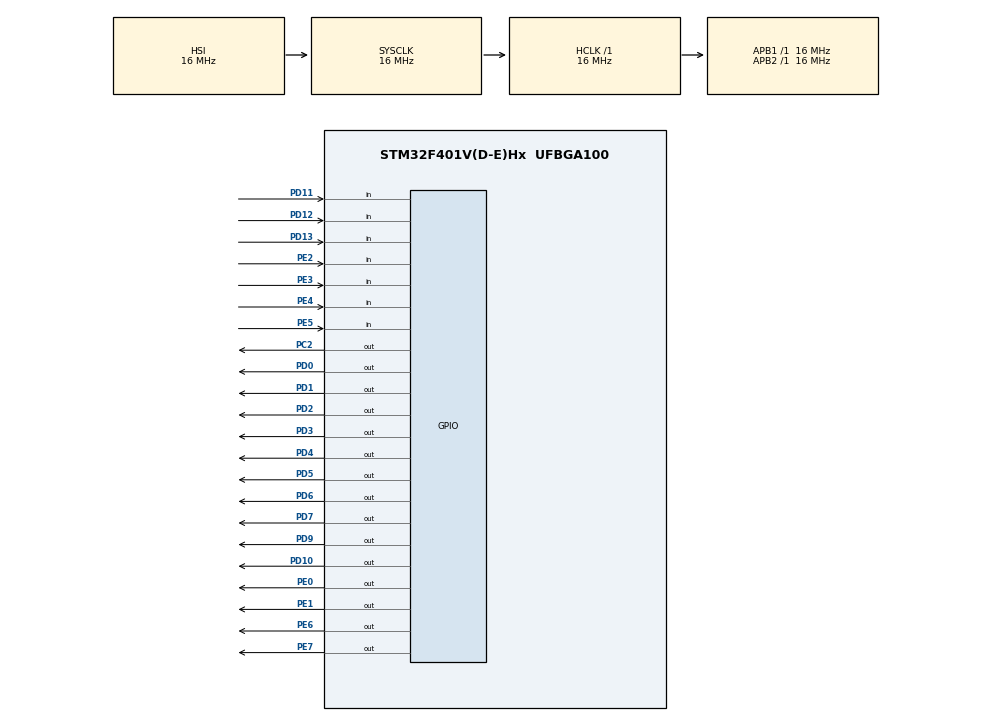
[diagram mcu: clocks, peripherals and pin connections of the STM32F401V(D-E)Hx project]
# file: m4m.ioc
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Mcu.Family=STM32F4
Mcu.Name=STM32F401V(D-E)Hx
Mcu.Package=UFBGA100
NVIC.PriorityGroup=NVIC_PRIORITYGROUP_4
NVIC.TIM1_UP_TIM10_IRQn=true\:0\:0\:false\:false\:true\:true\:true
PC2.Signal=GPIO_Output
PD0.Signal=GPIO_Output
PD1.Signal=GPIO_Output
PD10.Signal=GPIO_Output
PD11.Signal=GPIO_Input
PD12.Signal=GPIO_Input
PD13.Signal=GPIO_Input
PD2.Signal=GPIO_Output
PD3.Signal=GPIO_Output
PD4.Signal=GPIO_Output
PD5.Signal=GPIO_Output
PD6.Signal=GPIO_Output
PD7.Signal=GPIO_Output
PD9.Signal=GPIO_Output
PE0.Signal=GPIO_Output
PE1.Signal=GPIO_Output
PE2.Signal=GPIO_Input
PE3.Signal=GPIO_Input
PE4.Signal=GPIO_Input
PE5.Signal=GPIO_Input
PE6.Signal=GPIO_Output
PE7.Signal=GPIO_Output
ProjectManager.HeapSize=0x200
ProjectManager.StackSize=0x400
ProjectManager.TargetToolchain=STM32CubeIDE
RCC.AHBFreq_Value=16000000
RCC.APB1Freq_Value=16000000
RCC.APB2Freq_Value=16000000
RCC.CortexFreq_Value=16000000
RCC.HSE_VALUE=25000000
RCC.HSI_VALUE=16000000
RCC.LSE_VALUE=32768
RCC.SYSCLKFreq_VALUE=16000000
RCC.VCOOutputFreq_Value=192000000
TIM10.Period=62499
TIM10.Prescaler=63
VP_TIM10_VS_ClockSourceINT.Mode=Enable_Timer
board=custom

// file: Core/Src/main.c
/* USER CODE BEGIN Header */
/**
  ******************************************************************************
  * @file           : main.c
  * @brief          : Main program body
  ******************************************************************************
  * @attention
  *
  * <h2><center>&copy; Copyright (c) 2023 STMicroelectronics.
  * All rights reserved.</center></h2>
  *
  * This software component is licensed by ST under BSD 3-Clause license,
  * the "License"; You may not use this file except in compliance with the
  * License. You may obtain a copy of the License at:
  *                        opensource.org/licenses/BSD-3-Clause
  *
  ******************************************************************************
  */
/* USER CODE END Header */
#include "main.h"
#include "tim.h"
#include "gpio.h"

/* USER CODE BEGIN Includes */
#include <LCD.h>
#include <keypad.h>
/* USER CODE END Includes */

/* USER CODE BEGIN PM */

#define PASS_LIMIT       3
#define SET              1
#define CLEAR            0
#define CANCEL           2

/* USER CODE END PM */

/* USER CODE BEGIN PV */

uint8_t Door = CLEAR;
uint8_t Food_in = CLEAR;
uint8_t Start = CLEAR;
uint8_t Start_Flag = CLEAR;
uint8_t Stop  = CLEAR;
uint8_t Pause_Flage  = CLEAR;
uint8_t Cancel_Flage = CLEAR;
uint8_t Time_minutes = CLEAR;
uint8_t Time_seconds = 60;
uint8_t keypad_value = CLEAR;
uint8_t Time_check = CLEAR;
uint8_t Run_flag = CLEAR;
uint8_t count_char = CLEAR;
uint8_t char_temp = CLEAR;
uint8_t Enable_ISR = CLEAR;

/* USER CODE END PV */

void SystemClock_Config(void);

/* USER CODE BEGIN PFP */

void initialization ();
uint8_t Keypad_Read_Value();
void Timer_ISR();
void Button_State();
void Set_Time();
void Start_Microwave();
void Stop_Microwave();

/* USER CODE END PFP */

/* USER CODE BEGIN 0 */

lcd_4bit_t lcd;
keypad_t keypad;

/* USER CODE END 0 */

int main(void)
{

  /* MCU Configuration--------------------------------------------------------*/

  /* Reset of all peripherals, Initializes the Flash interface and the Systick. */
  HAL_Init();

  /* Configure the system clock */
  SystemClock_Config();

  /* Initialize all configured peripherals */
  MX_GPIO_Init();
  MX_TIM10_Init();
  /* USER CODE BEGIN 2 */

  HAL_TIM_Base_Start_IT(&htim10);

  initialization();

  lcd_4bit_send_string_pos(&lcd, 2, 8, "00:00");
  /* USER CODE END 2 */

  /* Infinite loop */
  while(1){
  /* USER CODE BEGIN WHILE */
	  Button_State();
	  Timer_ISR();
		  /* Check if door is closed */
		  if (Door == HIGH){
			  HAL_GPIO_WritePin(GPIOE, GPIO_PIN_1, GPIO_PIN_SET);
		  }
		  if (Door == LOW && Start_Flag == CLEAR){
			  HAL_GPIO_WritePin(GPIOE, GPIO_PIN_1, GPIO_PIN_RESET);
		  }
		  /* Check if food is in microwave and door is closed */
		 if(Food_in == HIGH && Door == LOW)
		 {
		 	 /* We want to set time only once */
		 	 Set_Time();

			   /* Check the state of the start button */
			 if(Start_Flag == SET && Pause_Flage == CLEAR)
			 {
				 /* Turn on the microwave, heater, and lamb */
				 Start_Microwave();
				 Cancel_Flage = CLEAR;
			 }
		  }

	          /* Check the state of the Stop button */
	  	 if(Pause_Flage == SET)
	  	 {
	              Start_Flag = CLEAR;
	              Pause_Flage = CLEAR;
	              Stop_Microwave(); // stope the operation
	  	 }
	         /* if the stop button is pressed twice, restart the program  */
	     if (Cancel_Flage == CANCEL){
	              Stop_Microwave();
	              lcd_4bit_send_string_pos(&lcd, 2, 8, "00:00");
	              Pause_Flage = CLEAR;
	              Start_Flag = CLEAR;
	              Time_minutes = CLEAR;
	              Time_seconds = 60;
	              Cancel_Flage = CLEAR;
	              Time_check = CLEAR;
	      }

    /* USER CODE END WHILE */

  }
}
void SystemClock_Config(void)
{
  RCC_OscInitTypeDef RCC_OscInitStruct = {0};
  RCC_ClkInitTypeDef RCC_ClkInitStruct = {0};

  /** Configure the main internal regulator output voltage
  */
  __HAL_RCC_PWR_CLK_ENABLE();
  __HAL_PWR_VOLTAGESCALING_CONFIG(PWR_REGULATOR_VOLTAGE_SCALE2);
  /** Initializes the RCC Oscillators according to the specified parameters
  * in the RCC_OscInitTypeDef structure.
  */
  RCC_OscInitStruct.OscillatorType = RCC_OSCILLATORTYPE_HSI;
  RCC_OscInitStruct.HSIState = RCC_HSI_ON;
  RCC_OscInitStruct.HSICalibrationValue = RCC_HSICALIBRATION_DEFAULT;
  RCC_OscInitStruct.PLL.PLLState = RCC_PLL_NONE;
  if (HAL_RCC_OscConfig(&RCC_OscInitStruct) != HAL_OK)
  {
    Error_Handler();
  }
  /** Initializes the CPU, AHB and APB buses clocks
  */
  RCC_ClkInitStruct.ClockType = RCC_CLOCKTYPE_HCLK|RCC_CLOCKTYPE_SYSCLK
                              |RCC_CLOCKTYPE_PCLK1|RCC_CLOCKTYPE_PCLK2;
  RCC_ClkInitStruct.SYSCLKSource = RCC_SYSCLKSOURCE_HSI;
  RCC_ClkInitStruct.AHBCLKDivider = RCC_SYSCLK_DIV1;
  RCC_ClkInitStruct.APB1CLKDivider = RCC_HCLK_DIV1;
  RCC_ClkInitStruct.APB2CLKDivider = RCC_HCLK_DIV1;

  if (HAL_RCC_ClockConfig(&RCC_ClkInitStruct, FLASH_LATENCY_0) != HAL_OK)
  {
    Error_Handler();
  }
}

/* USER CODE BEGIN 4 */

void Button_State(){
    /* Check if there is food in the microwave */
    Food_in = HAL_GPIO_ReadPin(GPIOE, GPIO_PIN_5);
    /* Check the status of the door */
    Door = HAL_GPIO_ReadPin(GPIOE, GPIO_PIN_4);
    Start = HAL_GPIO_ReadPin(GPIOE, GPIO_PIN_2);
    /* Check the status of the Start */
    if (Start == GPIO_PIN_SET){
        Start_Flag = SET;
    }
    /* Check the status of the Stop */
    Stop = HAL_GPIO_ReadPin(GPIOE, GPIO_PIN_3);
    if(Stop == GPIO_PIN_SET){

        Pause_Flage++;
        Cancel_Flage++;
    }
}

/**
 * @brief To Set the time from (0 to 99)
 * @param void
 * @return void
 */
void Set_Time(){
    if(Time_check != 2){
    /* get input key from keypad */
    keypad_value = Keypad_Read_Value();
    /* check if the input is correct */
        if(('0' <= keypad_value) && ('9' >= keypad_value))
        {
            if (keypad_value != 0){
            /* Store the time */
            Time_minutes = (Time_minutes * 10) + (keypad_value - '0');

            /* display time*/
            if (Time_minutes <= 9){
                char_temp = keypad_value;
                lcd_4bit_send_char_data_pos(&lcd, 2, 9, char_temp);
            }
            else if(Time_minutes >= 10){
                lcd_4bit_send_char_data_pos(&lcd, 2, 9, keypad_value);
                lcd_4bit_send_char_data_pos(&lcd, 2, 8, char_temp);
            }
            ++Time_check;
            keypad_value = 0;
            }
        }
    }
}

/**
 * @brief Configure the timer to interrupt every 1 sec
 * @param void
 * @return void
 */
void Timer_ISR(){
/* If the Run_flag is 1, then the user has pressed the start button and there is food in the microwave */
/* The Enable_ISR variable is used by the timer interrupt to signal that an interrupt has occurred every 1 second, This will trigger the function every 1 second */
    if(Run_flag == SET && Enable_ISR == SET){
        /* if (Time_minutes) valid then start count the time and display it*/
        if(Time_minutes){
            Time_seconds--;
            /* display the minutes */
            count_char = '0' + ((Time_minutes-1) / 10);
            lcd_4bit_send_char_data_pos(&lcd, 2, 8, count_char);
            count_char = '0' + ((Time_minutes-1) % 10);
            lcd_4bit_send_char_data_pos(&lcd, 2, 9, count_char);

            /* display the seconds */
            count_char = '0' + (Time_seconds / 10);
            lcd_4bit_send_char_data_pos(&lcd, 2, 11, count_char);
            count_char = '0' + (Time_seconds % 10);
            lcd_4bit_send_char_data_pos(&lcd, 2, 12, count_char);

            /* A minute has passed if the seconds are 0 */
            if (Time_seconds == 0){
                Time_minutes--;
                Time_seconds = 60;
            }
            Enable_ISR = CLEAR;
        }
        /* If the minute is 0, then the time is up */
        else {
            lcd_4bit_send_string_pos(&lcd, 2, 8, "00:00");
            Start_Flag = CLEAR;
            Stop_Microwave();
            Enable_ISR = CLEAR;
        }
    }
}

/**
 * @brief This function starts the microwave, lamp, and heater
 * @param void
 * @return void
 */
void Start_Microwave(){
    /* start the heater */
	HAL_GPIO_WritePin(GPIOE, GPIO_PIN_0, GPIO_PIN_SET);
    /* Turn on the lamb  */
    HAL_GPIO_WritePin(GPIOE, GPIO_PIN_1, GPIO_PIN_SET);
    /* Start the microwave  */
    HAL_GPIO_WritePin(GPIOE, GPIO_PIN_6, GPIO_PIN_SET);
    HAL_GPIO_WritePin(GPIOE, GPIO_PIN_7, GPIO_PIN_RESET);
    /* Start the timer */
    Run_flag = 1;
}

/**
 * @brief This function stops the microwave, lamp, and heater
 * @param void
 * @return void
 */
void Stop_Microwave(){
    /* Stop the heater */
    HAL_GPIO_WritePin(GPIOE, GPIO_PIN_0, GPIO_PIN_RESET);
    /* Turn off the lamb  */
    HAL_GPIO_WritePin(GPIOE, GPIO_PIN_1, GPIO_PIN_RESET);
    /* Stop the microwave  */
    HAL_GPIO_WritePin(GPIOE, GPIO_PIN_6, GPIO_PIN_RESET);
    HAL_GPIO_WritePin(GPIOE, GPIO_PIN_7, GPIO_PIN_RESET);
    /* Stop the timer */
    Run_flag = 0;
}

/**
 * @brief This function reads the keypad
 * @param void
 * @return Keypad Value
 */
uint8_t Keypad_Read_Value()
{
    uint8_t Value;
    keypad_read(&keypad, &Value);
    return Value;
}

/**
 * @brief This function initializes the modules
 * @param void
 * @return void
 */
void initialization(){
	lcd.lcd_rs.port = GPIOD,
	lcd.lcd_rs.pin = GPIO_PIN_0,
	lcd.lcd_en.port = GPIOD,
	lcd.lcd_en.pin = GPIO_PIN_1,

	lcd.lcd_data[0].port = GPIOD,
	lcd.lcd_data[0].pin = GPIO_PIN_2,
	lcd.lcd_data[1].port = GPIOD,
	lcd.lcd_data[1].pin = GPIO_PIN_3,
	lcd.lcd_data[2].port = GPIOD,
	lcd.lcd_data[2].pin = GPIO_PIN_4,
	lcd.lcd_data[3].port = GPIOD,
	lcd.lcd_data[3].pin = GPIO_PIN_5;

	keypad.keypad_row[0].port = GPIOD,
	keypad.keypad_row[0].pin = GPIO_PIN_6,
	keypad.keypad_row[1].port = GPIOD,
	keypad.keypad_row[1].pin = GPIO_PIN_7,
	keypad.keypad_row[2].port = GPIOD,
	keypad.keypad_row[2].pin = GPIO_PIN_9,
	keypad.keypad_row[3].port = GPIOD,
	keypad.keypad_row[3].pin = GPIO_PIN_10,

	keypad.keypad_col[0].port = GPIOD,
	keypad.keypad_col[0].pin = GPIO_PIN_11,
	keypad.keypad_col[1].port = GPIOD,
	keypad.keypad_col[1].pin = GPIO_PIN_12,
	keypad.keypad_col[2].port = GPIOD,
	keypad.keypad_col[2].pin = GPIO_PIN_13,
	keypad.keypad_col[3].port = GPIOD,
	keypad.keypad_col[3].pin = GPIO_PIN_14;

	lcd_4bit_intialize(&lcd);
	keypad_initialize (&keypad);

}

/* USER CODE END 4 */

void Error_Handler(void)
{
  __disable_irq();
  while (1)
  {
  }
}

/************************ (C) COPYRIGHT STMicroelectronics *****END OF FILE****/
